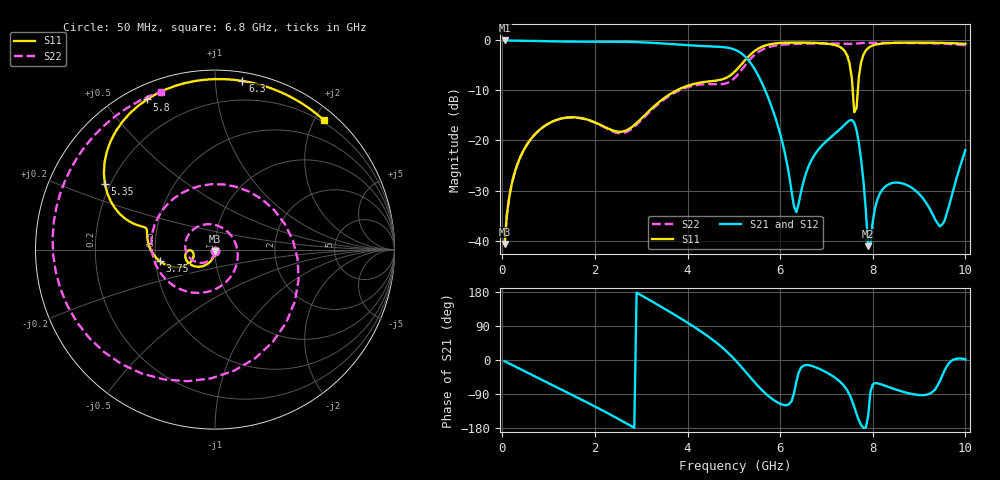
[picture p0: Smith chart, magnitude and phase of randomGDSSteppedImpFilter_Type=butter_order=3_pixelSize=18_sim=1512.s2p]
! freq	dB(S11)	phase(S11)	dB(S12)	phase(S12)
!  dB(S21)	phase(S21)	dB(S22)	phase(S22)
!S-par simulation data
#  GHz  S  DB  R 50
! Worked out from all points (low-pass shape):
!   200 points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, 50 MHz to 10 GHz, reference 50 ohm
!   highest |S21| = -0.01 dB at 50 MHz (marker M1); lowest = -41.1 dB at 7.9 GHz (marker M2)
!   |S21| within 3 dB of the highest: start of sweep to 5.218 GHz
!   lowest |S11| = -40.7 dB at 50 MHz (marker M3), VSWR 1.02, Z = 50 - j0.924 ohm
!   |S11| at or under -10 dB: start of sweep to 3.763 GHz; 7.567 GHz to 7.678 GHz (110.7 MHz wide, 1.45 % of centre)
!   |S22| runs from -40.7 to -0.5 dB; largest |S21 - S12| = 0
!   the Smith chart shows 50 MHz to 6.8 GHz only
!   S11 on the Smith chart (normalised r, x): 50 MHz: 1.00, -0.02; 3.75 GHz: 0.53, -0.08; 5.35 GHz: 0.18, +0.27; 5.8 GHz: 0.06, +0.64; 6.3 GHz: 0.06, +1.17; 6.8 GHz: 0.17, +2.13
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0.05  -40.68 -91.2  -0.01 -3.1  -0.01 -3.1  -40.68 -91.9
0.2  -28.86 -100.1  -0.03 -12.4  -0.03 -12.4  -28.88 -103.8
0.5  -21.30 -116.3  -0.08 -30.7  -0.08 -30.7  -21.33 -125.8
1.75  -15.61 -171.8  -0.25 -107.0  -0.25 -107.0  -15.66 136.8
2.65  -18.08 -163.2  -0.28 -165.1  -0.28 -165.1  -18.40 12.1
3.4  -12.20 -156.4  -0.57 142.7  -0.57 142.7  -12.45 -99.9
3.75  -10.06 -168.2  -0.80 117.2  -0.80 117.2  -10.31 -138.6
4.45  -8.20 166.8  -1.16 61.8  -1.16 61.8  -8.73 136.7
5.05  -5.96 161.8  -1.97 -2.9  -1.97 -2.9  -7.20 6.8
5.35  -2.90 149.0  -4.36 -45.2  -4.36 -45.2  -3.80 -69.8
5.8  -0.74 114.4  -12.87 -100.2  -12.87 -100.2  -1.21 -152.5
6.3  -0.43 80.8  -33.23 -87.3  -33.23 -87.3  -0.71 150.3
6.7  -0.48 56.4  -23.53 -16.2  -23.53 -16.2  -0.63 116.4
6.8  -0.52 50.1  -22.12 -20.8  -22.12 -20.8  -0.63 108.9
7.35  -1.68 1.8  -17.24 -64.1  -17.24 -64.1  -0.64 71.5
7.55  -7.74 -54.7  -15.90 -106.3  -15.90 -106.3  -0.69 59.8
7.65  -13.47 146.1  -17.95 -142.6  -17.95 -142.6  -0.63 54.5
7.75  -4.31 82.8  -23.95 -171.9  -23.95 -171.9  -0.53 48.8
7.9  -1.52 48.9  -41.12 -148.1  -41.12 -148.1  -0.48 39.9
8.35  -0.53 9.6  -28.73 -71.6  -28.73 -71.6  -0.48 15.9
9.45  -0.49 -41.4  -37.16 -55.6  -37.16 -55.6  -0.62 -35.2
10  -0.71 -65.1  -21.92 1.9  -21.92 1.9  -1.01 -61.9
